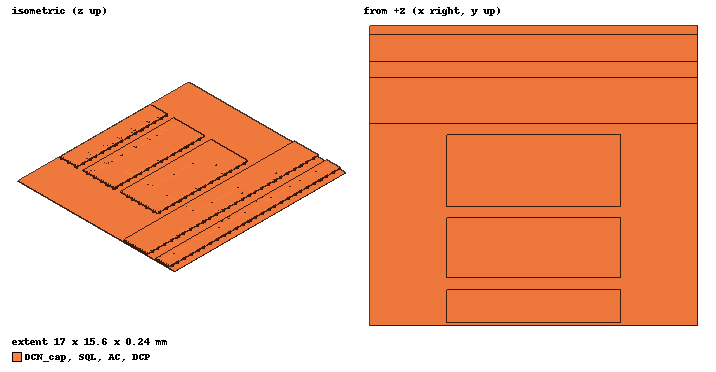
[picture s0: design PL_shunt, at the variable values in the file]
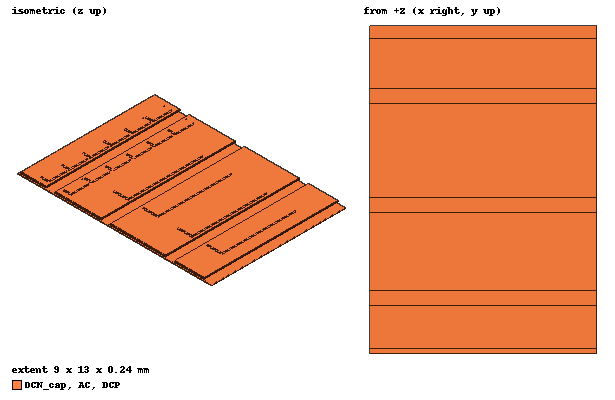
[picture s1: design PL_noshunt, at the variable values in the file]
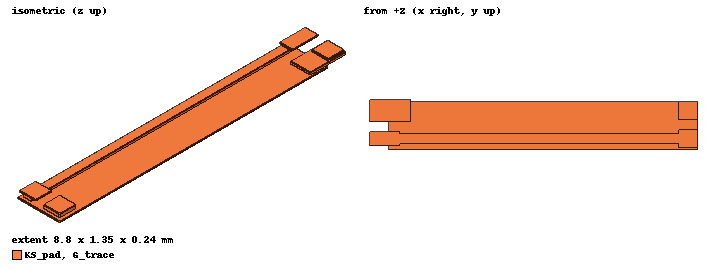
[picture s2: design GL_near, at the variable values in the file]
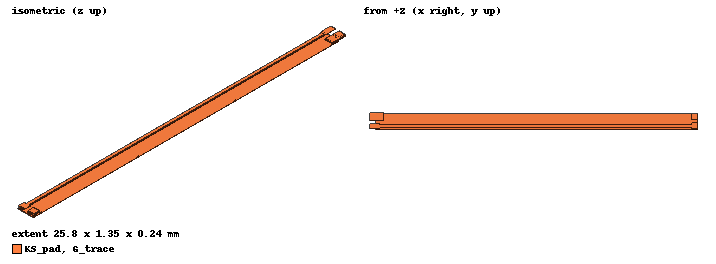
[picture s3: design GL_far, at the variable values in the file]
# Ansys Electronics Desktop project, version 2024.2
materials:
  vacuum: permittivity=1
  copper: permeability=0.999991 conductivity=58000000

design PL_shunt (Q3D Extractor, model units mm)
options: SParamCalcMethod=EqTransLine Calculate_Lossy_Dielectrics
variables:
  h_diel = 0.1mm  # L1-L2 dielectric: vertical spacing between + (L1) and - (L2) copper
  t_L1 = 0.07mm  # L1 copper thickness
  t_L2 = 0.035mm  # L2 copper thickness
  t_pad = 0.035mm  # pad/solder height above L1 (terminal faces sit on top)
  gap = 0.6mm  # lateral gap between L1 copper islands (DC-/DC+/AC/source)
  w_cell = 9mm  # width of DC-cap, DC+ and AC islands
  w_sh = 17mm  # width of the shunt island and DC- shunt landing
  l_vrow = 0.8mm  # DC- cap landing: via strip before the cap pads
  l_capn = 0.9mm  # DC- cap pad strip
  l_dcp = 3.1mm  # DC+ island length (cap + pads to QH drain)
  l_ac = 3.7mm  # AC island length (QH source to QL drain)
  l_s = 2.4mm  # QL source / shunt-input island length
  g_sh = 0.8mm  # copper gap under the shunt body
  l_dcn = 1.4mm  # DC- shunt landing length
  fet_w = 5mm  # EPC2361 pad width (long side, across the loop)
  fet_pad = 1mm  # EPC2361 drain/source pad length along the loop
  cap_p = 1.4mm  # MLCC pitch
  cap_w = 1.25mm  # MLCC pad width
  sh_p = 3.4mm  # shunt pitch
  sh_w = 2.8mm  # shunt pad width
  via_r = 0.15mm  # via radius
  z_L1 = t_L2+h_diel
  z_top = z_L1+t_L1
  y_dcp0 = l_capn+gap
  y_dcp1 = y_dcp0+l_dcp
  y_ac0 = y_dcp1+gap
  y_ac1 = y_ac0+l_ac
  y_s0 = y_ac1+gap
  y_s1 = y_s0+l_s
  y_dn0 = y_s1+g_sh
  y_dn1 = y_dn0+l_dcn
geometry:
  DCN_cap [copper] = box(corner=(-w_cell/2, -l_vrow, z_L1), size=((w_cell/2)-(-w_cell/2), (l_capn)-(-l_vrow), (z_top)-(z_L1)))
  via1 = cylinder(axis=Z, base_centre=((-4)*w_cell/10, -l_vrow/2, 0mm), radius=via_r, height=z_top)
  via2 = cylinder(axis=Z, base_centre=((-3)*w_cell/10, -l_vrow/2, 0mm), radius=via_r, height=z_top)
  via3 = cylinder(axis=Z, base_centre=((-2)*w_cell/10, -l_vrow/2, 0mm), radius=via_r, height=z_top)
  via4 = cylinder(axis=Z, base_centre=((-1)*w_cell/10, -l_vrow/2, 0mm), radius=via_r, height=z_top)
  via5 = cylinder(axis=Z, base_centre=((0)*w_cell/10, -l_vrow/2, 0mm), radius=via_r, height=z_top)
  via6 = cylinder(axis=Z, base_centre=((1)*w_cell/10, -l_vrow/2, 0mm), radius=via_r, height=z_top)
  via7 = cylinder(axis=Z, base_centre=((2)*w_cell/10, -l_vrow/2, 0mm), radius=via_r, height=z_top)
  via8 = cylinder(axis=Z, base_centre=((3)*w_cell/10, -l_vrow/2, 0mm), radius=via_r, height=z_top)
  via9 = cylinder(axis=Z, base_centre=((4)*w_cell/10, -l_vrow/2, 0mm), radius=via_r, height=z_top)
  CapN1 = box(corner=((-2.5)*cap_p-cap_w/2, 0.2mm, z_top), size=(((-2.5)*cap_p+cap_w/2)-((-2.5)*cap_p-cap_w/2), (0.7mm)-(0.2mm), (z_top+t_pad)-(z_top)))
  CapN2 = box(corner=((-1.5)*cap_p-cap_w/2, 0.2mm, z_top), size=(((-1.5)*cap_p+cap_w/2)-((-1.5)*cap_p-cap_w/2), (0.7mm)-(0.2mm), (z_top+t_pad)-(z_top)))
  CapN3 = box(corner=((-0.5)*cap_p-cap_w/2, 0.2mm, z_top), size=(((-0.5)*cap_p+cap_w/2)-((-0.5)*cap_p-cap_w/2), (0.7mm)-(0.2mm), (z_top+t_pad)-(z_top)))
  CapN4 = box(corner=((0.5)*cap_p-cap_w/2, 0.2mm, z_top), size=(((0.5)*cap_p+cap_w/2)-((0.5)*cap_p-cap_w/2), (0.7mm)-(0.2mm), (z_top+t_pad)-(z_top)))
  CapN5 = box(corner=((1.5)*cap_p-cap_w/2, 0.2mm, z_top), size=(((1.5)*cap_p+cap_w/2)-((1.5)*cap_p-cap_w/2), (0.7mm)-(0.2mm), (z_top+t_pad)-(z_top)))
  CapN6 = box(corner=((2.5)*cap_p-cap_w/2, 0.2mm, z_top), size=(((2.5)*cap_p+cap_w/2)-((2.5)*cap_p-cap_w/2), (0.7mm)-(0.2mm), (z_top+t_pad)-(z_top)))
  DCP [copper] = box(corner=(-w_cell/2, y_dcp0, z_L1), size=((w_cell/2)-(-w_cell/2), (y_dcp1)-(y_dcp0), (z_top)-(z_L1)))
  CapP1 = box(corner=((-2.5)*cap_p-cap_w/2, y_dcp0+0.2mm, z_top), size=(((-2.5)*cap_p+cap_w/2)-((-2.5)*cap_p-cap_w/2), (y_dcp0+0.7mm)-(y_dcp0+0.2mm), (z_top+t_pad)-(z_top)))
  CapP2 = box(corner=((-1.5)*cap_p-cap_w/2, y_dcp0+0.2mm, z_top), size=(((-1.5)*cap_p+cap_w/2)-((-1.5)*cap_p-cap_w/2), (y_dcp0+0.7mm)-(y_dcp0+0.2mm), (z_top+t_pad)-(z_top)))
  CapP3 = box(corner=((-0.5)*cap_p-cap_w/2, y_dcp0+0.2mm, z_top), size=(((-0.5)*cap_p+cap_w/2)-((-0.5)*cap_p-cap_w/2), (y_dcp0+0.7mm)-(y_dcp0+0.2mm), (z_top+t_pad)-(z_top)))
  CapP4 = box(corner=((0.5)*cap_p-cap_w/2, y_dcp0+0.2mm, z_top), size=(((0.5)*cap_p+cap_w/2)-((0.5)*cap_p-cap_w/2), (y_dcp0+0.7mm)-(y_dcp0+0.2mm), (z_top+t_pad)-(z_top)))
  CapP5 = box(corner=((1.5)*cap_p-cap_w/2, y_dcp0+0.2mm, z_top), size=(((1.5)*cap_p+cap_w/2)-((1.5)*cap_p-cap_w/2), (y_dcp0+0.7mm)-(y_dcp0+0.2mm), (z_top+t_pad)-(z_top)))
  CapP6 = box(corner=((2.5)*cap_p-cap_w/2, y_dcp0+0.2mm, z_top), size=(((2.5)*cap_p+cap_w/2)-((2.5)*cap_p-cap_w/2), (y_dcp0+0.7mm)-(y_dcp0+0.2mm), (z_top+t_pad)-(z_top)))
  QH_D = box(corner=(-fet_w/2, y_dcp1-0.2mm-fet_pad, z_top), size=((fet_w/2)-(-fet_w/2), (y_dcp1-0.2mm)-(y_dcp1-0.2mm-fet_pad), (z_top+t_pad)-(z_top)))
  AC [copper] = box(corner=(-w_cell/2, y_ac0, z_L1), size=((w_cell/2)-(-w_cell/2), (y_ac1)-(y_ac0), (z_top)-(z_L1)))
  QH_S = box(corner=(-fet_w/2, y_ac0+0.2mm, z_top), size=((fet_w/2)-(-fet_w/2), (y_ac0+0.2mm+fet_pad)-(y_ac0+0.2mm), (z_top+t_pad)-(z_top)))
  QL_D = box(corner=(-fet_w/2, y_ac1-0.2mm-fet_pad, z_top), size=((fet_w/2)-(-fet_w/2), (y_ac1-0.2mm)-(y_ac1-0.2mm-fet_pad), (z_top+t_pad)-(z_top)))
  SQL [copper] = box(corner=(-w_sh/2, y_s0, z_L1), size=((w_sh/2)-(-w_sh/2), (y_s1)-(y_s0), (z_top)-(z_L1)))
  QL_S = box(corner=(-fet_w/2, y_s0+0.2mm, z_top), size=((fet_w/2)-(-fet_w/2), (y_s0+0.2mm+fet_pad)-(y_s0+0.2mm), (z_top+t_pad)-(z_top)))
  DCN_sh = box(corner=(-w_sh/2, y_dn0, z_L1), size=((w_sh/2)-(-w_sh/2), (y_dn1)-(y_dn0), (z_top)-(z_L1)))
  via10 = cylinder(axis=Z, base_centre=((-8)*w_sh/18, y_dn0+0.9mm, 0mm), radius=via_r, height=z_top)
  via11 = cylinder(axis=Z, base_centre=((-7)*w_sh/18, y_dn0+0.9mm, 0mm), radius=via_r, height=z_top)
  via12 = cylinder(axis=Z, base_centre=((-6)*w_sh/18, y_dn0+0.9mm, 0mm), radius=via_r, height=z_top)
  via13 = cylinder(axis=Z, base_centre=((-5)*w_sh/18, y_dn0+0.9mm, 0mm), radius=via_r, height=z_top)
  via14 = cylinder(axis=Z, base_centre=((-4)*w_sh/18, y_dn0+0.9mm, 0mm), radius=via_r, height=z_top)
  via15 = cylinder(axis=Z, base_centre=((-3)*w_sh/18, y_dn0+0.9mm, 0mm), radius=via_r, height=z_top)
  via16 = cylinder(axis=Z, base_centre=((-2)*w_sh/18, y_dn0+0.9mm, 0mm), radius=via_r, height=z_top)
  via17 = cylinder(axis=Z, base_centre=((-1)*w_sh/18, y_dn0+0.9mm, 0mm), radius=via_r, height=z_top)
  via18 = cylinder(axis=Z, base_centre=((0)*w_sh/18, y_dn0+0.9mm, 0mm), radius=via_r, height=z_top)
  via19 = cylinder(axis=Z, base_centre=((1)*w_sh/18, y_dn0+0.9mm, 0mm), radius=via_r, height=z_top)
  via20 = cylinder(axis=Z, base_centre=((2)*w_sh/18, y_dn0+0.9mm, 0mm), radius=via_r, height=z_top)
  via21 = cylinder(axis=Z, base_centre=((3)*w_sh/18, y_dn0+0.9mm, 0mm), radius=via_r, height=z_top)
  via22 = cylinder(axis=Z, base_centre=((4)*w_sh/18, y_dn0+0.9mm, 0mm), radius=via_r, height=z_top)
  via23 = cylinder(axis=Z, base_centre=((5)*w_sh/18, y_dn0+0.9mm, 0mm), radius=via_r, height=z_top)
  via24 = cylinder(axis=Z, base_centre=((6)*w_sh/18, y_dn0+0.9mm, 0mm), radius=via_r, height=z_top)
  via25 = cylinder(axis=Z, base_centre=((7)*w_sh/18, y_dn0+0.9mm, 0mm), radius=via_r, height=z_top)
  via26 = cylinder(axis=Z, base_centre=((8)*w_sh/18, y_dn0+0.9mm, 0mm), radius=via_r, height=z_top)
  SHin1 = box(corner=((-2)*sh_p-sh_w/2, y_s1-0.5mm, z_top), size=(((-2)*sh_p+sh_w/2)-((-2)*sh_p-sh_w/2), (y_s1-0.1mm)-(y_s1-0.5mm), (z_top+t_pad)-(z_top)))
  SHout1 = box(corner=((-2)*sh_p-sh_w/2, y_dn0+0.1mm, z_top), size=(((-2)*sh_p+sh_w/2)-((-2)*sh_p-sh_w/2), (y_dn0+0.5mm)-(y_dn0+0.1mm), (z_top+t_pad)-(z_top)))
  SHin2 = box(corner=((-1)*sh_p-sh_w/2, y_s1-0.5mm, z_top), size=(((-1)*sh_p+sh_w/2)-((-1)*sh_p-sh_w/2), (y_s1-0.1mm)-(y_s1-0.5mm), (z_top+t_pad)-(z_top)))
  SHout2 = box(corner=((-1)*sh_p-sh_w/2, y_dn0+0.1mm, z_top), size=(((-1)*sh_p+sh_w/2)-((-1)*sh_p-sh_w/2), (y_dn0+0.5mm)-(y_dn0+0.1mm), (z_top+t_pad)-(z_top)))
  SHin3 = box(corner=((0)*sh_p-sh_w/2, y_s1-0.5mm, z_top), size=(((0)*sh_p+sh_w/2)-((0)*sh_p-sh_w/2), (y_s1-0.1mm)-(y_s1-0.5mm), (z_top+t_pad)-(z_top)))
  SHout3 = box(corner=((0)*sh_p-sh_w/2, y_dn0+0.1mm, z_top), size=(((0)*sh_p+sh_w/2)-((0)*sh_p-sh_w/2), (y_dn0+0.5mm)-(y_dn0+0.1mm), (z_top+t_pad)-(z_top)))
  SHin4 = box(corner=((1)*sh_p-sh_w/2, y_s1-0.5mm, z_top), size=(((1)*sh_p+sh_w/2)-((1)*sh_p-sh_w/2), (y_s1-0.1mm)-(y_s1-0.5mm), (z_top+t_pad)-(z_top)))
  SHout4 = box(corner=((1)*sh_p-sh_w/2, y_dn0+0.1mm, z_top), size=(((1)*sh_p+sh_w/2)-((1)*sh_p-sh_w/2), (y_dn0+0.5mm)-(y_dn0+0.1mm), (z_top+t_pad)-(z_top)))
  SHin5 = box(corner=((2)*sh_p-sh_w/2, y_s1-0.5mm, z_top), size=(((2)*sh_p+sh_w/2)-((2)*sh_p-sh_w/2), (y_s1-0.1mm)-(y_s1-0.5mm), (z_top+t_pad)-(z_top)))
  SHout5 = box(corner=((2)*sh_p-sh_w/2, y_dn0+0.1mm, z_top), size=(((2)*sh_p+sh_w/2)-((2)*sh_p-sh_w/2), (y_dn0+0.5mm)-(y_dn0+0.1mm), (z_top+t_pad)-(z_top)))
  L2_DCN = box(corner=(-w_sh/2, -l_vrow-0.2mm, 0mm), size=((w_sh/2)-(-w_sh/2), (y_dn1+0.5mm)-(-l_vrow-0.2mm), (t_L2)-(0mm)))
  DCP.unite(CapP1..CapP6, QH_D)
  AC.unite(QH_S, QL_D)
  SQL.unite(QL_S, SHin1..SHin5)
  DCN_cap.unite(via1..via9, CapN1..CapN6, DCN_sh, via10..via26, SHout1..SHout5, L2_DCN)
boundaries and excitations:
  DCP: SignalNet Objects=DCP
  AC: SignalNet Objects=AC
  SQL: SignalNet Objects=SQL
  DCN: SignalNet Objects=DCN_cap
  CapP: Source Faces=DCP.face(at (-3.5, 1.95, 0.24), at (-2.1, 1.95, 0.24), at (-0.7, 1.95, 0.24), at (0.7, 1.95, 0.24), at (2.1, 1.95, 0.24), at (3.5, 1.95, 0.24)) TerminalType=ConstantVoltage Net=DCP
  QH_D: Sink Faces=DCP.face(at (0, 3.9, 0.24)) TerminalType=ConstantVoltage Net=DCP
  QH_S: Source Faces=AC.face(at (0, 5.9, 0.24)) TerminalType=ConstantVoltage Net=AC
  QL_D: Sink Faces=AC.face(at (0, 8.2, 0.24)) TerminalType=ConstantVoltage Net=AC
  QL_S: Source Faces=SQL.face(at (0, 10.2, 0.24)) TerminalType=ConstantVoltage Net=SQL
  SH_in: Sink Faces=SQL.face(at (-6.8, 11.6, 0.24), at (-3.4, 11.6, 0.24), at (0, 11.6, 0.24), at (3.4, 11.6, 0.24), at (6.8, 11.6, 0.24)) TerminalType=ConstantVoltage Net=SQL
  SH_out: Source Faces=DCN_cap.face(at (-6.8, 13, 0.24), at (-3.4, 13, 0.24), at (0, 13, 0.24), at (3.4, 13, 0.24), at (6.8, 13, 0.24)) TerminalType=ConstantVoltage Net=DCN
  CapN: Sink Faces=DCN_cap.face(at (-3.5, 0.45, 0.24), at (-2.1, 0.45, 0.24), at (-0.7, 0.45, 0.24), at (0.7, 0.45, 0.24), at (2.1, 0.45, 0.24), at (3.5, 0.45, 0.24)) TerminalType=ConstantVoltage Net=DCN
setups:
  Setup1: Matrix AdaptiveFreq=100MHz Cap{MaxPass=10 MinPass=1 MinConvPass=1 PerError=1 PerRefine=30 AutoIncreaseAccuracy AccuracyLevel=High Solver_Type=Iterative} DC{Cond{MaxPass=10 MinPass=1 MinConvPass=1 PerError=1 PerRefine=30} Mult{MaxPass=1 MinPass=1 MinConvPass=1 PerError=1 PerRefine=30} AccuracyLevel=Normal} AC{MaxPass=15 MinPass=2 MinConvPass=2 PerError=0.5 PerRefine=30 ACRLSolverType=ACA} ErrorValue=0.1
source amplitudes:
  AC:QH_S, DCN:SH_out, SQL:QL_S: AC R/L Fields 0A
  DCP:CapP: AC R/L Fields 1A
  AC, DCN, SQL: CG Fields 0V 0deg
  DCP: CG Fields 1V 0deg
  AC:QH_S, DCN:SH_out, SQL:QL_S: DC R/L Fields 0A
  DCP:CapP: DC R/L Fields 1A
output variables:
  Lloop = ACL(DCP:CapP,DCP:CapP)+ACL(DCP:CapP,AC:QH_S)+ACL(DCP:CapP,SQL:QL_S)+ACL(DCP:CapP,DCN:SH_out)+ACL(AC:QH_S,DCP:CapP)+ACL(AC:QH_S,AC:QH_S)+ACL(AC:QH_S,SQL:QL_S)+ACL(AC:QH_S,DCN:SH_out)+ACL(SQL:QL_S,DCP:CapP)+ACL(SQL:QL_S,AC:QH_S)+ACL(SQL:QL_S,SQL:QL_S)+ACL(SQL:QL_S,DCN:SH_out)+ACL(DCN:SH_out,DCP:CapP)+ACL(DCN:SH_out,AC:QH_S)+ACL(DCN:SH_out,SQL:QL_S)+ACL(DCN:SH_out,DCN:SH_out)
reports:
  LR_PL_shunt: Lloop, ACL(DCP:CapP,DCP:CapP), ACL(DCP:CapP,AC:QH_S), ACL(DCP:CapP,SQL:QL_S), ACL(DCP:CapP,DCN:SH_out), ACL(AC:QH_S,DCP:CapP), ACL(AC:QH_S,AC:QH_S), ACL(AC:QH_S,SQL:QL_S), ACL(AC:QH_S,DCN:SH_out), ACL(SQL:QL_S,DCP:CapP), ACL(SQL:QL_S,AC:QH_S), ACL(SQL:QL_S,SQL:QL_S), ACL(SQL:QL_S,DCN:SH_out), ACL(DCN:SH_out,DCP:CapP), ACL(DCN:SH_out,AC:QH_S), ACL(DCN:SH_out,SQL:QL_S), ACL(DCN:SH_out,DCN:SH_out), ACR(DCP:CapP,DCP:CapP), ACR(AC:QH_S,AC:QH_S), ACR(SQL:QL_S,SQL:QL_S), ACR(DCN:SH_out,DCN:SH_out) vs Freq on Setup1 : LastAdaptive [Freq=100MHz]

design PL_noshunt (Q3D Extractor, model units mm)
options: SParamCalcMethod=EqTransLine Calculate_Lossy_Dielectrics
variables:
  h_diel = 0.1mm  # L1-L2 dielectric: vertical spacing between + (L1) and - (L2) copper
  t_L1 = 0.07mm  # L1 copper thickness
  t_L2 = 0.035mm  # L2 copper thickness
  t_pad = 0.035mm  # pad/solder height above L1 (terminal faces sit on top)
  gap = 0.6mm  # lateral gap between L1 copper islands (DC-/DC+/AC/source)
  w_cell = 9mm  # width of DC-cap, DC+ and AC islands
  w_sh = 17mm  # width of the shunt island and DC- shunt landing
  l_vrow = 0.8mm  # DC- cap landing: via strip before the cap pads
  l_capn = 0.9mm  # DC- cap pad strip
  l_dcp = 3.1mm  # DC+ island length (cap + pads to QH drain)
  l_ac = 3.7mm  # AC island length (QH source to QL drain)
  l_s = 2.4mm  # QL source / shunt-input island length
  g_sh = 0.8mm  # copper gap under the shunt body
  l_dcn = 1.4mm  # DC- shunt landing length
  fet_w = 5mm  # EPC2361 pad width (long side, across the loop)
  fet_pad = 1mm  # EPC2361 drain/source pad length along the loop
  cap_p = 1.4mm  # MLCC pitch
  cap_w = 1.25mm  # MLCC pad width
  sh_p = 3.4mm  # shunt pitch
  sh_w = 2.8mm  # shunt pad width
  via_r = 0.15mm  # via radius
  z_L1 = t_L2+h_diel
  z_top = z_L1+t_L1
  y_dcp0 = l_capn+gap
  y_dcp1 = y_dcp0+l_dcp
  y_ac0 = y_dcp1+gap
  y_ac1 = y_ac0+l_ac
  y_s0 = y_ac1+gap
  y_s1 = y_s0+l_s
  y_dn0 = y_s1+g_sh
  y_dn1 = y_dn0+l_dcn
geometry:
  DCN_cap [copper] = box(corner=(-w_cell/2, -l_vrow, z_L1), size=((w_cell/2)-(-w_cell/2), (l_capn)-(-l_vrow), (z_top)-(z_L1)))
  via1 = cylinder(axis=Z, base_centre=((-4)*w_cell/10, -l_vrow/2, 0mm), radius=via_r, height=z_top)
  via2 = cylinder(axis=Z, base_centre=((-3)*w_cell/10, -l_vrow/2, 0mm), radius=via_r, height=z_top)
  via3 = cylinder(axis=Z, base_centre=((-2)*w_cell/10, -l_vrow/2, 0mm), radius=via_r, height=z_top)
  via4 = cylinder(axis=Z, base_centre=((-1)*w_cell/10, -l_vrow/2, 0mm), radius=via_r, height=z_top)
  via5 = cylinder(axis=Z, base_centre=((0)*w_cell/10, -l_vrow/2, 0mm), radius=via_r, height=z_top)
  via6 = cylinder(axis=Z, base_centre=((1)*w_cell/10, -l_vrow/2, 0mm), radius=via_r, height=z_top)
  via7 = cylinder(axis=Z, base_centre=((2)*w_cell/10, -l_vrow/2, 0mm), radius=via_r, height=z_top)
  via8 = cylinder(axis=Z, base_centre=((3)*w_cell/10, -l_vrow/2, 0mm), radius=via_r, height=z_top)
  via9 = cylinder(axis=Z, base_centre=((4)*w_cell/10, -l_vrow/2, 0mm), radius=via_r, height=z_top)
  CapN1 = box(corner=((-2.5)*cap_p-cap_w/2, 0.2mm, z_top), size=(((-2.5)*cap_p+cap_w/2)-((-2.5)*cap_p-cap_w/2), (0.7mm)-(0.2mm), (z_top+t_pad)-(z_top)))
  CapN2 = box(corner=((-1.5)*cap_p-cap_w/2, 0.2mm, z_top), size=(((-1.5)*cap_p+cap_w/2)-((-1.5)*cap_p-cap_w/2), (0.7mm)-(0.2mm), (z_top+t_pad)-(z_top)))
  CapN3 = box(corner=((-0.5)*cap_p-cap_w/2, 0.2mm, z_top), size=(((-0.5)*cap_p+cap_w/2)-((-0.5)*cap_p-cap_w/2), (0.7mm)-(0.2mm), (z_top+t_pad)-(z_top)))
  CapN4 = box(corner=((0.5)*cap_p-cap_w/2, 0.2mm, z_top), size=(((0.5)*cap_p+cap_w/2)-((0.5)*cap_p-cap_w/2), (0.7mm)-(0.2mm), (z_top+t_pad)-(z_top)))
  CapN5 = box(corner=((1.5)*cap_p-cap_w/2, 0.2mm, z_top), size=(((1.5)*cap_p+cap_w/2)-((1.5)*cap_p-cap_w/2), (0.7mm)-(0.2mm), (z_top+t_pad)-(z_top)))
  CapN6 = box(corner=((2.5)*cap_p-cap_w/2, 0.2mm, z_top), size=(((2.5)*cap_p+cap_w/2)-((2.5)*cap_p-cap_w/2), (0.7mm)-(0.2mm), (z_top+t_pad)-(z_top)))
  DCP [copper] = box(corner=(-w_cell/2, y_dcp0, z_L1), size=((w_cell/2)-(-w_cell/2), (y_dcp1)-(y_dcp0), (z_top)-(z_L1)))
  CapP1 = box(corner=((-2.5)*cap_p-cap_w/2, y_dcp0+0.2mm, z_top), size=(((-2.5)*cap_p+cap_w/2)-((-2.5)*cap_p-cap_w/2), (y_dcp0+0.7mm)-(y_dcp0+0.2mm), (z_top+t_pad)-(z_top)))
  CapP2 = box(corner=((-1.5)*cap_p-cap_w/2, y_dcp0+0.2mm, z_top), size=(((-1.5)*cap_p+cap_w/2)-((-1.5)*cap_p-cap_w/2), (y_dcp0+0.7mm)-(y_dcp0+0.2mm), (z_top+t_pad)-(z_top)))
  CapP3 = box(corner=((-0.5)*cap_p-cap_w/2, y_dcp0+0.2mm, z_top), size=(((-0.5)*cap_p+cap_w/2)-((-0.5)*cap_p-cap_w/2), (y_dcp0+0.7mm)-(y_dcp0+0.2mm), (z_top+t_pad)-(z_top)))
  CapP4 = box(corner=((0.5)*cap_p-cap_w/2, y_dcp0+0.2mm, z_top), size=(((0.5)*cap_p+cap_w/2)-((0.5)*cap_p-cap_w/2), (y_dcp0+0.7mm)-(y_dcp0+0.2mm), (z_top+t_pad)-(z_top)))
  CapP5 = box(corner=((1.5)*cap_p-cap_w/2, y_dcp0+0.2mm, z_top), size=(((1.5)*cap_p+cap_w/2)-((1.5)*cap_p-cap_w/2), (y_dcp0+0.7mm)-(y_dcp0+0.2mm), (z_top+t_pad)-(z_top)))
  CapP6 = box(corner=((2.5)*cap_p-cap_w/2, y_dcp0+0.2mm, z_top), size=(((2.5)*cap_p+cap_w/2)-((2.5)*cap_p-cap_w/2), (y_dcp0+0.7mm)-(y_dcp0+0.2mm), (z_top+t_pad)-(z_top)))
  QH_D = box(corner=(-fet_w/2, y_dcp1-0.2mm-fet_pad, z_top), size=((fet_w/2)-(-fet_w/2), (y_dcp1-0.2mm)-(y_dcp1-0.2mm-fet_pad), (z_top+t_pad)-(z_top)))
  AC [copper] = box(corner=(-w_cell/2, y_ac0, z_L1), size=((w_cell/2)-(-w_cell/2), (y_ac1)-(y_ac0), (z_top)-(z_L1)))
  QH_S = box(corner=(-fet_w/2, y_ac0+0.2mm, z_top), size=((fet_w/2)-(-fet_w/2), (y_ac0+0.2mm+fet_pad)-(y_ac0+0.2mm), (z_top+t_pad)-(z_top)))
  QL_D = box(corner=(-fet_w/2, y_ac1-0.2mm-fet_pad, z_top), size=((fet_w/2)-(-fet_w/2), (y_ac1-0.2mm)-(y_ac1-0.2mm-fet_pad), (z_top+t_pad)-(z_top)))
  DCN_src = box(corner=(-w_cell/2, y_s0, z_L1), size=((w_cell/2)-(-w_cell/2), (y_s0+2mm)-(y_s0), (z_top)-(z_L1)))
  via10 = cylinder(axis=Z, base_centre=((-4)*w_cell/10, y_s0+1.6mm, 0mm), radius=via_r, height=z_top)
  via11 = cylinder(axis=Z, base_centre=((-3)*w_cell/10, y_s0+1.6mm, 0mm), radius=via_r, height=z_top)
  via12 = cylinder(axis=Z, base_centre=((-2)*w_cell/10, y_s0+1.6mm, 0mm), radius=via_r, height=z_top)
  via13 = cylinder(axis=Z, base_centre=((-1)*w_cell/10, y_s0+1.6mm, 0mm), radius=via_r, height=z_top)
  via14 = cylinder(axis=Z, base_centre=((0)*w_cell/10, y_s0+1.6mm, 0mm), radius=via_r, height=z_top)
  via15 = cylinder(axis=Z, base_centre=((1)*w_cell/10, y_s0+1.6mm, 0mm), radius=via_r, height=z_top)
  via16 = cylinder(axis=Z, base_centre=((2)*w_cell/10, y_s0+1.6mm, 0mm), radius=via_r, height=z_top)
  via17 = cylinder(axis=Z, base_centre=((3)*w_cell/10, y_s0+1.6mm, 0mm), radius=via_r, height=z_top)
  via18 = cylinder(axis=Z, base_centre=((4)*w_cell/10, y_s0+1.6mm, 0mm), radius=via_r, height=z_top)
  QL_S = box(corner=(-fet_w/2, y_s0+0.2mm, z_top), size=((fet_w/2)-(-fet_w/2), (y_s0+0.2mm+fet_pad)-(y_s0+0.2mm), (z_top+t_pad)-(z_top)))
  L2_DCN = box(corner=(-w_cell/2, -l_vrow-0.2mm, 0mm), size=((w_cell/2)-(-w_cell/2), (y_s0+2.5mm)-(-l_vrow-0.2mm), (t_L2)-(0mm)))
  DCP.unite(CapP1..CapP6, QH_D)
  AC.unite(QH_S, QL_D)
  DCN_cap.unite(via1..via9, CapN1..CapN6, DCN_src, via10..via18, QL_S, L2_DCN)
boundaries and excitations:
  DCP: SignalNet Objects=DCP
  AC: SignalNet Objects=AC
  DCN: SignalNet Objects=DCN_cap
  CapP: Source Faces=DCP.face(at (-3.5, 1.95, 0.24), at (-2.1, 1.95, 0.24), at (-0.7, 1.95, 0.24), at (0.7, 1.95, 0.24), at (2.1, 1.95, 0.24), at (3.5, 1.95, 0.24)) TerminalType=ConstantVoltage Net=DCP
  QH_D: Sink Faces=DCP.face(at (0, 3.9, 0.24)) TerminalType=ConstantVoltage Net=DCP
  QH_S: Source Faces=AC.face(at (0, 5.9, 0.24)) TerminalType=ConstantVoltage Net=AC
  QL_D: Sink Faces=AC.face(at (0, 8.2, 0.24)) TerminalType=ConstantVoltage Net=AC
  QL_S: Source Faces=DCN_cap.face(at (0, 10.2, 0.24)) TerminalType=ConstantVoltage Net=DCN
  CapN: Sink Faces=DCN_cap.face(at (-3.5, 0.45, 0.24), at (-2.1, 0.45, 0.24), at (-0.7, 0.45, 0.24), at (0.7, 0.45, 0.24), at (2.1, 0.45, 0.24), at (3.5, 0.45, 0.24)) TerminalType=ConstantVoltage Net=DCN
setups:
  Setup1: Matrix AdaptiveFreq=100MHz Cap{MaxPass=10 MinPass=1 MinConvPass=1 PerError=1 PerRefine=30 AutoIncreaseAccuracy AccuracyLevel=High Solver_Type=Iterative} DC{Cond{MaxPass=10 MinPass=1 MinConvPass=1 PerError=1 PerRefine=30} Mult{MaxPass=1 MinPass=1 MinConvPass=1 PerError=1 PerRefine=30} AccuracyLevel=Normal} AC{MaxPass=15 MinPass=2 MinConvPass=2 PerError=0.5 PerRefine=30 ACRLSolverType=ACA} ErrorValue=0.1
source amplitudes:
  AC:QH_S, DCN:QL_S: AC R/L Fields 0A
  DCP:CapP: AC R/L Fields 1A
  AC, DCN: CG Fields 0V 0deg
  DCP: CG Fields 1V 0deg
  AC:QH_S, DCN:QL_S: DC R/L Fields 0A
  DCP:CapP: DC R/L Fields 1A
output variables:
  Lloop = ACL(DCP:CapP,DCP:CapP)+ACL(DCP:CapP,AC:QH_S)+ACL(DCP:CapP,DCN:QL_S)+ACL(AC:QH_S,DCP:CapP)+ACL(AC:QH_S,AC:QH_S)+ACL(AC:QH_S,DCN:QL_S)+ACL(DCN:QL_S,DCP:CapP)+ACL(DCN:QL_S,AC:QH_S)+ACL(DCN:QL_S,DCN:QL_S)
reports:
  LR_PL_noshunt: Lloop, ACL(DCP:CapP,DCP:CapP), ACL(DCP:CapP,AC:QH_S), ACL(DCP:CapP,DCN:QL_S), ACL(AC:QH_S,DCP:CapP), ACL(AC:QH_S,AC:QH_S), ACL(AC:QH_S,DCN:QL_S), ACL(DCN:QL_S,DCP:CapP), ACL(DCN:QL_S,AC:QH_S), ACL(DCN:QL_S,DCN:QL_S), ACR(DCP:CapP,DCP:CapP), ACR(AC:QH_S,AC:QH_S), ACR(DCN:QL_S,DCN:QL_S) vs Freq on Setup1 : LastAdaptive [Freq=100MHz]

design GL_near (Q3D Extractor, model units mm)
options: SParamCalcMethod=EqTransLine Calculate_Lossy_Dielectrics
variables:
  h_diel = 0.1mm  # L1-L2 dielectric
  t_L1 = 0.07mm  # L1 copper
  t_L2 = 0.035mm  # L2 copper
  t_pad = 0.035mm  # pad height
  l_gate = 8mm  # driver-to-gate length
  w_g = 0.25mm  # gate trace width (L1)
  w_ret = 0.6mm  # Kelvin return width (L2, directly under the gate trace)
  s_gk = 0.5mm  # gate pad to Kelvin pad spacing (y)
  via_r = 0.15mm  # via radius
  z_L1 = t_L2+h_diel
  z_top = z_L1+t_L1
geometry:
  G_trace [copper] = box(corner=(-l_gate, -w_g/2, z_L1), size=((0.3mm)-(-l_gate), (w_g/2)-(-w_g/2), (z_top)-(z_L1)))
  DrvOut = box(corner=(-l_gate-0.5mm, -0.2mm, z_top), size=((-l_gate+0.3mm)-(-l_gate-0.5mm), (0.2mm)-(-0.2mm), (z_top+t_pad)-(z_top)))
  Gate = box(corner=(-0.2mm, -0.25mm, z_top), size=((0.3mm)-(-0.2mm), (0.25mm)-(-0.25mm), (z_top+t_pad)-(z_top)))
  KS_pad [copper] = box(corner=(-0.2mm, s_gk, z_L1), size=((0.3mm)-(-0.2mm), (s_gk+0.5mm)-(s_gk), (z_top)-(z_L1)))
  Kelvin = box(corner=(-0.2mm, s_gk, z_top), size=((0.3mm)-(-0.2mm), (s_gk+0.5mm)-(s_gk), (z_top+t_pad)-(z_top)))
  via1 = cylinder(axis=Z, base_centre=(0.05mm, s_gk+0.25mm, 0mm), radius=via_r, height=z_top)
  KS_ret = box(corner=(-l_gate, -w_ret/2, 0mm), size=((0.3mm)-(-l_gate), (s_gk+0.5mm)-(-w_ret/2), (t_L2)-(0mm)))
  via2 = cylinder(axis=Z, base_centre=(-l_gate+0.3mm, s_gk+0.25mm, 0mm), radius=via_r, height=z_top)
  DrvGnd_l1 = box(corner=(-l_gate-0.5mm, s_gk-0.05mm, z_L1), size=((-l_gate+0.6mm)-(-l_gate-0.5mm), (s_gk+0.55mm)-(s_gk-0.05mm), (z_top)-(z_L1)))
  DrvGnd = box(corner=(-l_gate-0.5mm, s_gk, z_top), size=((-l_gate)-(-l_gate-0.5mm), (s_gk+0.5mm)-(s_gk), (z_top+t_pad)-(z_top)))
  KS_pad.unite(Kelvin, via1, KS_ret, via2, DrvGnd_l1, DrvGnd)
  G_trace.unite(DrvOut, Gate)
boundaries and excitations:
  KS: SignalNet Objects=KS_pad
  G: SignalNet Objects=G_trace
  DrvOut: Source Faces=G_trace.face(at (-8.1, 0, 0.24)) TerminalType=ConstantVoltage Net=G
  Gate: Sink Faces=G_trace.face(at (0.05, 0, 0.24)) TerminalType=ConstantVoltage Net=G
  Kelvin: Source Faces=KS_pad.face(at (0.05, 0.75, 0.24)) TerminalType=ConstantVoltage Net=KS
  DrvGnd: Sink Faces=KS_pad.face(at (-8.25, 0.75, 0.24)) TerminalType=ConstantVoltage Net=KS
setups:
  Setup1: Matrix AdaptiveFreq=100MHz Cap{MaxPass=10 MinPass=1 MinConvPass=1 PerError=1 PerRefine=30 AutoIncreaseAccuracy AccuracyLevel=High Solver_Type=Iterative} DC{Cond{MaxPass=10 MinPass=1 MinConvPass=1 PerError=1 PerRefine=30} Mult{MaxPass=1 MinPass=1 MinConvPass=1 PerError=1 PerRefine=30} AccuracyLevel=Normal} AC{MaxPass=15 MinPass=2 MinConvPass=2 PerError=0.5 PerRefine=30 ACRLSolverType=ACA} ErrorValue=0.1
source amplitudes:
  G:DrvOut: AC R/L Fields 1A
  KS:Kelvin: AC R/L Fields 0A
  G: CG Fields 0V 0deg
  KS: CG Fields 1V 0deg
  G:DrvOut: DC R/L Fields 1A
  KS:Kelvin: DC R/L Fields 0A
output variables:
  Lloop = ACL(G:DrvOut,G:DrvOut)+ACL(G:DrvOut,KS:Kelvin)+ACL(KS:Kelvin,G:DrvOut)+ACL(KS:Kelvin,KS:Kelvin)
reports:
  LR_GL_near: Lloop, ACL(G:DrvOut,G:DrvOut), ACL(G:DrvOut,KS:Kelvin), ACL(KS:Kelvin,G:DrvOut), ACL(KS:Kelvin,KS:Kelvin), ACR(G:DrvOut,G:DrvOut), ACR(KS:Kelvin,KS:Kelvin) vs Freq on Setup1 : LastAdaptive [Freq=100MHz]

design GL_far (Q3D Extractor, model units mm)
options: SParamCalcMethod=EqTransLine Calculate_Lossy_Dielectrics
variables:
  h_diel = 0.1mm  # L1-L2 dielectric
  t_L1 = 0.07mm  # L1 copper
  t_L2 = 0.035mm  # L2 copper
  t_pad = 0.035mm  # pad height
  l_gate = 25mm  # driver-to-gate length
  w_g = 0.25mm  # gate trace width (L1)
  w_ret = 0.6mm  # Kelvin return width (L2, directly under the gate trace)
  s_gk = 0.5mm  # gate pad to Kelvin pad spacing (y)
  via_r = 0.15mm  # via radius
  z_L1 = t_L2+h_diel
  z_top = z_L1+t_L1
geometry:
  G_trace [copper] = box(corner=(-l_gate, -w_g/2, z_L1), size=((0.3mm)-(-l_gate), (w_g/2)-(-w_g/2), (z_top)-(z_L1)))
  DrvOut = box(corner=(-l_gate-0.5mm, -0.2mm, z_top), size=((-l_gate+0.3mm)-(-l_gate-0.5mm), (0.2mm)-(-0.2mm), (z_top+t_pad)-(z_top)))
  Gate = box(corner=(-0.2mm, -0.25mm, z_top), size=((0.3mm)-(-0.2mm), (0.25mm)-(-0.25mm), (z_top+t_pad)-(z_top)))
  KS_pad [copper] = box(corner=(-0.2mm, s_gk, z_L1), size=((0.3mm)-(-0.2mm), (s_gk+0.5mm)-(s_gk), (z_top)-(z_L1)))
  Kelvin = box(corner=(-0.2mm, s_gk, z_top), size=((0.3mm)-(-0.2mm), (s_gk+0.5mm)-(s_gk), (z_top+t_pad)-(z_top)))
  via1 = cylinder(axis=Z, base_centre=(0.05mm, s_gk+0.25mm, 0mm), radius=via_r, height=z_top)
  KS_ret = box(corner=(-l_gate, -w_ret/2, 0mm), size=((0.3mm)-(-l_gate), (s_gk+0.5mm)-(-w_ret/2), (t_L2)-(0mm)))
  via2 = cylinder(axis=Z, base_centre=(-l_gate+0.3mm, s_gk+0.25mm, 0mm), radius=via_r, height=z_top)
  DrvGnd_l1 = box(corner=(-l_gate-0.5mm, s_gk-0.05mm, z_L1), size=((-l_gate+0.6mm)-(-l_gate-0.5mm), (s_gk+0.55mm)-(s_gk-0.05mm), (z_top)-(z_L1)))
  DrvGnd = box(corner=(-l_gate-0.5mm, s_gk, z_top), size=((-l_gate)-(-l_gate-0.5mm), (s_gk+0.5mm)-(s_gk), (z_top+t_pad)-(z_top)))
  KS_pad.unite(Kelvin, via1, KS_ret, via2, DrvGnd_l1, DrvGnd)
  G_trace.unite(DrvOut, Gate)
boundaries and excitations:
  KS: SignalNet Objects=KS_pad
  G: SignalNet Objects=G_trace
  DrvOut: Source Faces=G_trace.face(at (-25.1, 0, 0.24)) TerminalType=ConstantVoltage Net=G
  Gate: Sink Faces=G_trace.face(at (0.05, 0, 0.24)) TerminalType=ConstantVoltage Net=G
  Kelvin: Source Faces=KS_pad.face(at (0.05, 0.75, 0.24)) TerminalType=ConstantVoltage Net=KS
  DrvGnd: Sink Faces=KS_pad.face(at (-25.25, 0.75, 0.24)) TerminalType=ConstantVoltage Net=KS
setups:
  Setup1: Matrix AdaptiveFreq=100MHz Cap{MaxPass=10 MinPass=1 MinConvPass=1 PerError=1 PerRefine=30 AutoIncreaseAccuracy AccuracyLevel=High Solver_Type=Iterative} DC{Cond{MaxPass=10 MinPass=1 MinConvPass=1 PerError=1 PerRefine=30} Mult{MaxPass=1 MinPass=1 MinConvPass=1 PerError=1 PerRefine=30} AccuracyLevel=Normal} AC{MaxPass=15 MinPass=2 MinConvPass=2 PerError=0.5 PerRefine=30 ACRLSolverType=ACA} ErrorValue=0.1
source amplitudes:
  G:DrvOut: AC R/L Fields 1A
  KS:Kelvin: AC R/L Fields 0A
  G: CG Fields 0V 0deg
  KS: CG Fields 1V 0deg
  G:DrvOut: DC R/L Fields 1A
  KS:Kelvin: DC R/L Fields 0A
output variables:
  Lloop = ACL(G:DrvOut,G:DrvOut)+ACL(G:DrvOut,KS:Kelvin)+ACL(KS:Kelvin,G:DrvOut)+ACL(KS:Kelvin,KS:Kelvin)
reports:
  LR_GL_far: Lloop, ACL(G:DrvOut,G:DrvOut), ACL(G:DrvOut,KS:Kelvin), ACL(KS:Kelvin,G:DrvOut), ACL(KS:Kelvin,KS:Kelvin), ACR(G:DrvOut,G:DrvOut), ACR(KS:Kelvin,KS:Kelvin) vs Freq on Setup1 : LastAdaptive [Freq=100MHz]
